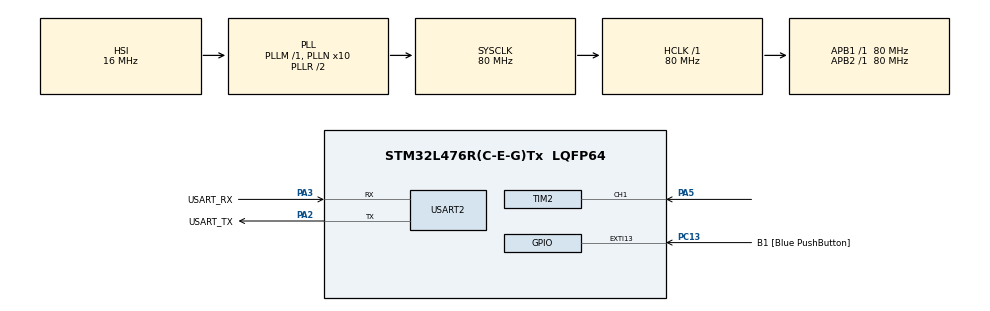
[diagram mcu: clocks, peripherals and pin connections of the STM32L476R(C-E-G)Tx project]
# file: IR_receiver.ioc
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Mcu.Family=STM32L4
Mcu.Name=STM32L476R(C-E-G)Tx
Mcu.Package=LQFP64
NVIC.PriorityGroup=NVIC_PRIORITYGROUP_4
NVIC.TIM2_IRQn=true\:0\:0\:false\:false\:true\:true\:true\:true
PA13\ (JTMS-SWDIO).GPIO_Label=TMS
PA13\ (JTMS-SWDIO).Mode=Serial_Wire
PA13\ (JTMS-SWDIO).Signal=SYS_JTMS-SWDIO
PA14\ (JTCK-SWCLK).GPIO_Label=TCK
PA14\ (JTCK-SWCLK).Mode=Serial_Wire
PA14\ (JTCK-SWCLK).Signal=SYS_JTCK-SWCLK
PA2.GPIO_Label=USART_TX
PA2.GPIO_Mode=GPIO_MODE_AF_PP
PA2.GPIO_PuPd=GPIO_NOPULL
PA2.GPIO_Speed=GPIO_SPEED_FREQ_VERY_HIGH
PA2.Mode=Asynchronous
PA2.Signal=USART2_TX
PA3.GPIO_Label=USART_RX
PA3.GPIO_Mode=GPIO_MODE_AF_PP
PA3.GPIO_PuPd=GPIO_NOPULL
PA3.GPIO_Speed=GPIO_SPEED_FREQ_VERY_HIGH
PA3.Mode=Asynchronous
PA3.Signal=USART2_RX
PA5.GPIO_PuPd=GPIO_NOPULL
PA5.Signal=S_TIM2_CH1
PA6.Signal=S_TIM16_CH1
PB3\ (JTDO-TRACESWO).GPIO_Label=SWO
PB3\ (JTDO-TRACESWO).Signal=SYS_JTDO-SWO
PC13.GPIO_Label=B1 [Blue PushButton]
PC13.GPIO_ModeDefaultEXTI=GPIO_MODE_IT_FALLING
PC13.GPIO_PuPd=GPIO_NOPULL
PC13.Signal=GPXTI13
PC14-OSC32_IN\ (PC14).Mode=LSE-External-Oscillator
PC14-OSC32_IN\ (PC14).Signal=RCC_OSC32_IN
PC15-OSC32_OUT\ (PC15).Mode=LSE-External-Oscillator
PC15-OSC32_OUT\ (PC15).Signal=RCC_OSC32_OUT
PH0-OSC_IN\ (PH0).Signal=RCC_OSC_IN
PH1-OSC_OUT\ (PH1).Signal=RCC_OSC_OUT
ProjectManager.HeapSize=0x200
ProjectManager.StackSize=0x400
ProjectManager.TargetToolchain=STM32CubeIDE
RCC.ADCFreq_Value=64000000
RCC.AHBFreq_Value=80000000
RCC.APB1Freq_Value=80000000
RCC.APB1TimFreq_Value=80000000
RCC.APB2Freq_Value=80000000
RCC.APB2TimFreq_Value=80000000
RCC.CortexFreq_Value=80000000
RCC.HCLKFreq_Value=80000000
RCC.HSE_VALUE=8000000
RCC.HSI_VALUE=16000000
RCC.MSI_VALUE=4000000
RCC.PLLN=10
RCC.PLLSourceVirtual=RCC_PLLSOURCE_HSI
RCC.PREFETCH_ENABLE=1
RCC.SYSCLKFreq_VALUE=80000000
RCC.SYSCLKSource=RCC_SYSCLKSOURCE_PLLCLK
RCC.USBFreq_Value=64000000
RCC.VCOOutputFreq_Value=160000000
SH.S_TIM16_CH1.0=TIM16_CH1
SH.S_TIM2_CH1.0=TIM2_CH1,Input_Capture1_from_TI1
TIM2.AutoReloadPreload=TIM_AUTORELOAD_PRELOAD_DISABLE
TIM2.Channel-Input_Capture1_from_TI1=TIM_CHANNEL_1
TIM2.ICPolarity_CH1=TIM_INPUTCHANNELPOLARITY_BOTHEDGE
TIM2.Period=4294967295
TIM2.Prescaler=80-1
USART2.VirtualMode-Asynchronous=VM_ASYNC
VP_TIM2_VS_ClockSourceINT.Mode=Internal
board=NUCLEO-L476RG

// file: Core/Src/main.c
/* USER CODE BEGIN Header */
/**
  ******************************************************************************
  * @file           : main.c
  * @brief          : Main program body
  ******************************************************************************
  * @attention
  *
  * Copyright (c) 2024 STMicroelectronics.
  * All rights reserved.
  *
  * This software is licensed under terms that can be found in the LICENSE file
  * in the root directory of this software component.
  * If no LICENSE file comes with this software, it is provided AS-IS.
  *
  ******************************************************************************
  */
/* USER CODE END Header */
#include "main.h"

/* USER CODE BEGIN Includes */
#include <stdio.h>
#include <stdlib.h>
#include "stm32l4xx.h"

/* USER CODE END Includes */

/* USER CODE BEGIN PD */

#ifdef __GNUC__
#define PUTCHAR_PROTOTYPE int __io_putchar(int ch)
#define GETCHAR_PROTOTYPE int __io_getchar(void)
#else
#define PUTCHAR_PROTOTYPE int fputc(int ch, FILE *f)
#define GETCHAR_PROTOTYPE int fgetc(FILE *f)
#endif

/* USER CODE END PD */

TIM_HandleTypeDef htim2;

UART_HandleTypeDef huart2;

void SystemClock_Config(void);
static void MX_GPIO_Init(void);
static void MX_USART2_UART_Init(void);
static void MX_TIM2_Init(void);

/* USER CODE BEGIN PFP */

PUTCHAR_PROTOTYPE
{
  HAL_UART_Transmit(&huart2, (uint8_t *)&ch, 1, HAL_MAX_DELAY);
  return ch;
}
/* USER CODE END PFP */

/* USER CODE BEGIN 0 */
uint32_t last_capture = 0;
uint32_t period_length = 0;
float period[500];

void HAL_TIM_IC_CaptureCallback(TIM_HandleTypeDef *htim) {

    if (htim->Channel == HAL_TIM_ACTIVE_CHANNEL_1) {
        uint32_t capture_value = HAL_TIM_ReadCapturedValue(htim, TIM_CHANNEL_1);

        float pulse_duration = (float)(capture_value-last_capture)/1000;

        last_capture = capture_value;

        if (pulse_duration>1000){
        	period_length = 0;

        }
        else {
        	period[period_length]=pulse_duration;
        	period_length+=1;
        }
    }
}

/* USER CODE END 0 */

int main(void)
{

  /* MCU Configuration--------------------------------------------------------*/

  /* Reset of all peripherals, Initializes the Flash interface and the Systick. */
  HAL_Init();

  /* Configure the system clock */
  SystemClock_Config();

  /* Initialize all configured peripherals */
  MX_GPIO_Init();
  MX_USART2_UART_Init();
  MX_TIM2_Init();
  /* USER CODE BEGIN 2 */

  printf("\n\n\r Starting\n\n\r");

  // starting the input capture timer
  HAL_TIM_IC_Start_IT(&htim2, TIM_CHANNEL_1);

  /* USER CODE END 2 */

  /* Infinite loop */
  /* USER CODE BEGIN WHILE */
  while (1)
  {
	  if (period_length>=82){

		  //printf("%d \n\r", period_length);
//		  for (int i = 0; i<period_length;i++){
//			  printf("%f ", period[i]);
//		  }
//		  printf("\n\r");
//		  period_length = 0;

//
		  if (period[0]>2.1 & period[0]<2.7 & period[1]>0.3 & period[1]<0.9){
		  		  printf("Valid Sequence :");

		  		  for (int i = 2; i<period_length;i+=2){
//		  			float a = period[i];
//		  			float b = period[i+1];
//
//		  			printf(" %f %f ", a, b);
		  			if((i-2)%16==0){
		  				printf(" ");
		  			}
		  			if (period[i]>0.90 & period[i]<1.5){
		  				  printf("1");
		  			}
		  			else if (period[i]>0.30 & period[i]<0.90){
		  				printf("0");
		  			}
		  			else {
		  				printf(" %f ", period[i]);
		  			}

		  		  }
		  		  printf("\n\n\r");
		  		  period_length = 0;
		  	  }

	  }

//	  HAL_Delay(2000);
//	  printf("Values received \n\r");
//	  for (int i = 1; i<period_length;i+=1){
//	  		printf("%f ", period[i]);
//	  }
//	  printf("\n\r");
//	  period_length = 0;

    /* USER CODE END WHILE */

  }
}

void SystemClock_Config(void)
{
  RCC_OscInitTypeDef RCC_OscInitStruct = {0};
  RCC_ClkInitTypeDef RCC_ClkInitStruct = {0};

  /** Configure the main internal regulator output voltage
  */
  if (HAL_PWREx_ControlVoltageScaling(PWR_REGULATOR_VOLTAGE_SCALE1) != HAL_OK)
  {
    Error_Handler();
  }

  /** Initializes the RCC Oscillators according to the specified parameters
  * in the RCC_OscInitTypeDef structure.
  */
  RCC_OscInitStruct.OscillatorType = RCC_OSCILLATORTYPE_HSI;
  RCC_OscInitStruct.HSIState = RCC_HSI_ON;
  RCC_OscInitStruct.HSICalibrationValue = RCC_HSICALIBRATION_DEFAULT;
  RCC_OscInitStruct.PLL.PLLState = RCC_PLL_ON;
  RCC_OscInitStruct.PLL.PLLSource = RCC_PLLSOURCE_HSI;
  RCC_OscInitStruct.PLL.PLLM = 1;
  RCC_OscInitStruct.PLL.PLLN = 10;
  RCC_OscInitStruct.PLL.PLLP = RCC_PLLP_DIV7;
  RCC_OscInitStruct.PLL.PLLQ = RCC_PLLQ_DIV2;
  RCC_OscInitStruct.PLL.PLLR = RCC_PLLR_DIV2;
  if (HAL_RCC_OscConfig(&RCC_OscInitStruct) != HAL_OK)
  {
    Error_Handler();
  }

  /** Initializes the CPU, AHB and APB buses clocks
  */
  RCC_ClkInitStruct.ClockType = RCC_CLOCKTYPE_HCLK|RCC_CLOCKTYPE_SYSCLK
                              |RCC_CLOCKTYPE_PCLK1|RCC_CLOCKTYPE_PCLK2;
  RCC_ClkInitStruct.SYSCLKSource = RCC_SYSCLKSOURCE_PLLCLK;
  RCC_ClkInitStruct.AHBCLKDivider = RCC_SYSCLK_DIV1;
  RCC_ClkInitStruct.APB1CLKDivider = RCC_HCLK_DIV1;
  RCC_ClkInitStruct.APB2CLKDivider = RCC_HCLK_DIV1;

  if (HAL_RCC_ClockConfig(&RCC_ClkInitStruct, FLASH_LATENCY_4) != HAL_OK)
  {
    Error_Handler();
  }
}

static void MX_TIM2_Init(void)
{

  TIM_ClockConfigTypeDef sClockSourceConfig = {0};
  TIM_MasterConfigTypeDef sMasterConfig = {0};
  TIM_IC_InitTypeDef sConfigIC = {0};

  htim2.Instance = TIM2;
  htim2.Init.Prescaler = 80-1;
  htim2.Init.CounterMode = TIM_COUNTERMODE_UP;
  htim2.Init.Period = 4294967295;
  htim2.Init.ClockDivision = TIM_CLOCKDIVISION_DIV1;
  htim2.Init.AutoReloadPreload = TIM_AUTORELOAD_PRELOAD_DISABLE;
  if (HAL_TIM_Base_Init(&htim2) != HAL_OK)
  {
    Error_Handler();
  }
  sClockSourceConfig.ClockSource = TIM_CLOCKSOURCE_INTERNAL;
  if (HAL_TIM_ConfigClockSource(&htim2, &sClockSourceConfig) != HAL_OK)
  {
    Error_Handler();
  }
  if (HAL_TIM_IC_Init(&htim2) != HAL_OK)
  {
    Error_Handler();
  }
  sMasterConfig.MasterOutputTrigger = TIM_TRGO_RESET;
  sMasterConfig.MasterSlaveMode = TIM_MASTERSLAVEMODE_DISABLE;
  if (HAL_TIMEx_MasterConfigSynchronization(&htim2, &sMasterConfig) != HAL_OK)
  {
    Error_Handler();
  }
  sConfigIC.ICPolarity = TIM_INPUTCHANNELPOLARITY_BOTHEDGE;
  sConfigIC.ICSelection = TIM_ICSELECTION_DIRECTTI;
  sConfigIC.ICPrescaler = TIM_ICPSC_DIV1;
  sConfigIC.ICFilter = 0;
  if (HAL_TIM_IC_ConfigChannel(&htim2, &sConfigIC, TIM_CHANNEL_1) != HAL_OK)
  {
    Error_Handler();
  }

}

static void MX_USART2_UART_Init(void)
{

  huart2.Instance = USART2;
  huart2.Init.BaudRate = 115200;
  huart2.Init.WordLength = UART_WORDLENGTH_8B;
  huart2.Init.StopBits = UART_STOPBITS_1;
  huart2.Init.Parity = UART_PARITY_NONE;
  huart2.Init.Mode = UART_MODE_TX_RX;
  huart2.Init.HwFlowCtl = UART_HWCONTROL_NONE;
  huart2.Init.OverSampling = UART_OVERSAMPLING_16;
  huart2.Init.OneBitSampling = UART_ONE_BIT_SAMPLE_DISABLE;
  huart2.AdvancedInit.AdvFeatureInit = UART_ADVFEATURE_NO_INIT;
  if (HAL_UART_Init(&huart2) != HAL_OK)
  {
    Error_Handler();
  }

}

static void MX_GPIO_Init(void)
{
  GPIO_InitTypeDef GPIO_InitStruct = {0};

  /* GPIO Ports Clock Enable */
  __HAL_RCC_GPIOC_CLK_ENABLE();
  __HAL_RCC_GPIOH_CLK_ENABLE();
  __HAL_RCC_GPIOA_CLK_ENABLE();
  __HAL_RCC_GPIOB_CLK_ENABLE();

  /*Configure GPIO pin : B1_Pin */
  GPIO_InitStruct.Pin = B1_Pin;
  GPIO_InitStruct.Mode = GPIO_MODE_IT_FALLING;
  GPIO_InitStruct.Pull = GPIO_NOPULL;
  HAL_GPIO_Init(B1_GPIO_Port, &GPIO_InitStruct);

  /*Configure GPIO pin : PA6 */
  GPIO_InitStruct.Pin = GPIO_PIN_6;
  GPIO_InitStruct.Mode = GPIO_MODE_AF_PP;
  GPIO_InitStruct.Pull = GPIO_NOPULL;
  GPIO_InitStruct.Speed = GPIO_SPEED_FREQ_LOW;
  GPIO_InitStruct.Alternate = GPIO_AF14_TIM16;
  HAL_GPIO_Init(GPIOA, &GPIO_InitStruct);

}

void Error_Handler(void)
{
  __disable_irq();
  while (1)
  {
  }
}
